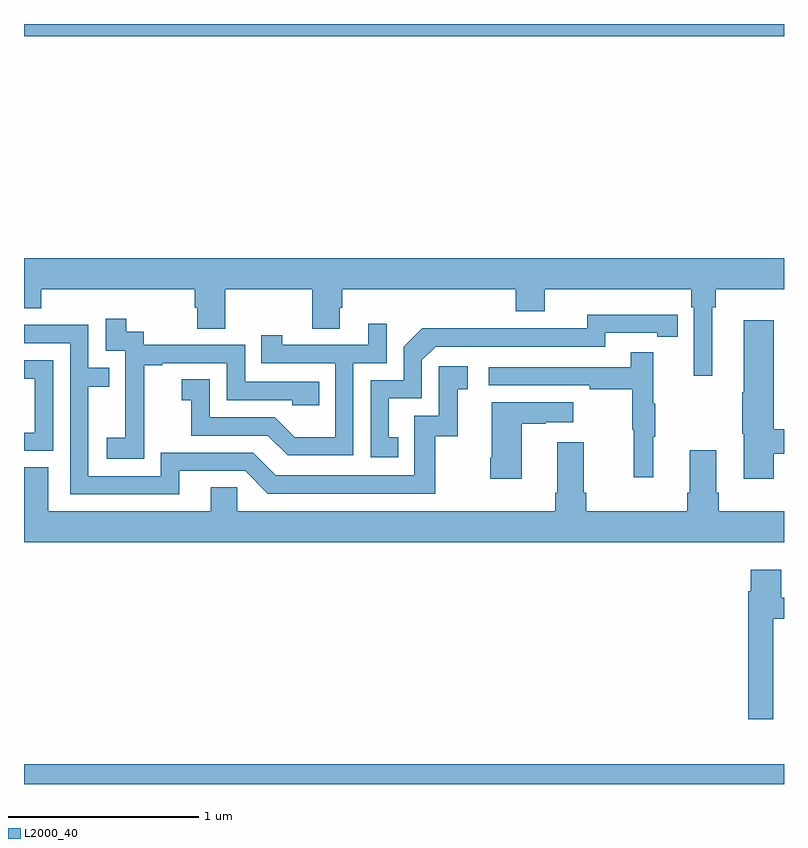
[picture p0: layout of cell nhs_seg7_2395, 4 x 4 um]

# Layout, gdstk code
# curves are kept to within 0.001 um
import gdstk
lib = gdstk.Library(unit=1e-6, precision=1e-09)
def R(c, l, rs):  # rectangles x0, y0, x1, y1
    for r in rs: c.add(gdstk.rectangle(r[:2], r[2:], *l))
def P(c, l, *ps):  # polygons
    for p in ps: c.add(gdstk.Polygon(p, *l))
L2000_40 = (2000, 40)

nhs_seg7_2395 = lib.new_cell('nhs_seg7_2395')
R(nhs_seg7_2395, L2000_40, [(267,1010,271,1010.104), (267,1013.936,271,1014)])
P(nhs_seg7_2395, L2000_40, [(270.622,1012.508),(270.641,1012.508),(270.641,1012.604),(271,1012.604),(271,1012.768),(267,1012.768),(267,1012.505),(267.092,1012.505),(267.092,1012.604),(267.899,1012.604),(267.899,1012.506),(267.911,1012.506),(267.911,1012.396),(268.059,1012.396),(268.059,1012.604),(268.516,1012.604),(268.516,1012.396),(268.663,1012.396),(268.663,1012.506),(268.676,1012.506),(268.676,1012.604),(269.588,1012.604),(269.588,1012.487),(269.74,1012.487),(269.74,1012.604),(270.512,1012.604),(270.512,1012.508),(270.525,1012.508),(270.525,1012.149),(270.622,1012.149)],
  [(268.97,1011.825),(268.921,1011.825),(268.921,1012.029),(269.094,1012.029),(269.094,1012.23),(269.166,1012.302),(270.06,1012.302),(270.06,1012.374),(270.332,1012.374),(270.332,1012.354),(270.44,1012.354),(270.44,1012.47),(269.964,1012.471),(269.964,1012.398),(269.504,1012.398),(269.504,1012.4),(269.096,1012.4),(268.998,1012.302),(268.998,1012.125),(268.824,1012.125),(268.824,1011.72),(268.97,1011.72)],
  [(267.633,1011.919),(267.632,1011.919),(267.632,1012.203),(267.727,1012.203),(267.727,1012.215),(268.068,1012.215),(268.068,1012.02),(268.413,1012.02),(268.413,1011.993),(268.553,1011.993),(268.553,1012.116),(268.164,1012.116),(268.164,1012.311),(267.63,1012.311),(267.63,1012.38),(267.538,1012.38),(267.538,1012.45),(267.429,1012.45),(267.429,1012.281),(267.534,1012.281),(267.534,1012.052),(267.533,1012.052),(267.533,1011.823),(267.435,1011.823),(267.435,1011.713),(267.633,1011.713)],
  [(270.947,1011.738),(271,1011.738),(271,1011.866),(270.947,1011.866),(270.947,1012.441),(270.788,1012.441),(270.788,1012.061),(270.781,1012.061),(270.781,1011.843),(270.788,1011.843),(270.788,1011.606),(270.947,1011.606)],
  [(268.734,1012.215),(268.908,1012.215),(268.908,1012.423),(268.811,1012.423),(268.811,1012.311),(268.36,1012.311),(268.36,1012.363),(268.249,1012.363),(268.249,1012.215),(268.638,1012.215),(268.638,1011.826),(268.424,1011.826),(268.32,1011.93),(267.978,1011.93),(267.978,1012.129),(267.831,1012.129),(267.831,1012.019),(267.88,1012.019),(267.88,1011.834),(268.283,1011.834),(268.388,1011.729),(268.734,1011.729)],
  [(267.817,1011.648),(268.164,1011.648),(268.284,1011.528),(269.164,1011.528),(269.164,1011.831),(269.282,1011.831),(269.282,1012.077),(269.335,1012.077),(269.335,1012.198),(269.184,1012.198),(269.184,1011.939),(269.055,1011.939),(269.055,1011.624),(268.326,1011.624),(268.206,1011.744),(267.72,1011.744),(267.72,1011.621),(267.339,1011.621),(267.339,1012.09),(267.449,1012.09),(267.449,1012.191),(267.339,1012.191),(267.339,1012.416),(267,1012.416),(267,1012.32),(267.243,1012.32),(267.243,1011.525),(267.817,1011.525)],
  [(270.311,1011.827),(270.322,1011.827),(270.322,1012.001),(270.311,1012.001),(270.311,1012.273),(270.193,1012.273),(270.193,1012.194),(269.445,1012.194),(269.445,1012.098),(269.977,1012.098),(269.977,1012.078),(270.201,1012.078),(270.201,1011.864),(270.208,1011.864),(270.208,1011.615),(270.311,1011.615)],
  [(267.153,1012.23),(267,1012.23),(267,1012.134),(267.057,1012.134),(267.057,1011.849),(267,1011.849),(267,1011.753),(267.153,1011.753)],
  [(269.62,1011.895),(269.747,1011.895),(269.747,1011.905),(269.89,1011.905),(269.89,1012.009),(269.462,1012.009),(269.462,1011.718),(269.455,1011.718),(269.455,1011.606),(269.62,1011.606)],
  [(271,1011.436),(270.656,1011.436),(270.656,1011.532),(270.643,1011.532),(270.643,1011.757),(270.503,1011.757),(270.503,1011.532),(270.491,1011.532),(270.491,1011.436),(269.96,1011.436),(269.96,1011.532),(269.947,1011.532),(269.947,1011.799),(269.807,1011.799),(269.807,1011.532),(269.795,1011.532),(269.795,1011.436),(268.122,1011.436),(268.122,1011.563),(267.983,1011.563),(267.983,1011.436),(267.127,1011.436),(267.127,1011.668),(267,1011.668),(267,1011.272),(271,1011.272)],
  [(270.943,1010.871),(271,1010.871),(271,1010.98),(270.985,1010.98),(270.985,1011.127),(270.824,1011.127),(270.824,1011.014),(270.812,1011.014),(270.812,1010.34),(270.943,1010.34)])

lib.write_gds('nhs_seg7_2395.gds')
